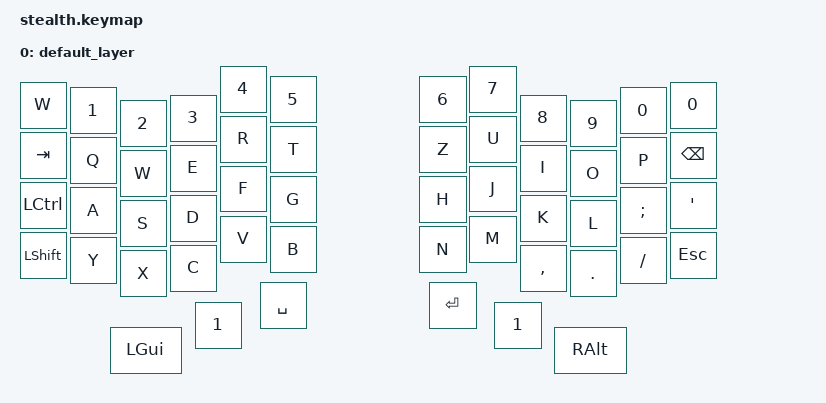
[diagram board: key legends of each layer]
/*
 * Copyright (c) 2020 The ZMK Contributors
 *
 * SPDX-License-Identifier: MIT
 */

#include <behaviors.dtsi>
#include <dt-bindings/zmk/keys.h>
#include <dt-bindings/zmk/bt.h>

/ {
        keymap {
                compatible = "zmk,keymap";

                default_layer {
// -----------------------------------------------------------------------------------------
// |  TAB |  Q  |  W  |  E  |  R  |  T  |   |  Y  |  U   |  I  |  O  |  P  | BSPC |
// | CTRL |  A  |  S  |  D  |  F  |  G  |   |  H  |  J   |  K  |  L  |  ;  |  '   |
// | SHFT |  Z  |  X  |  C  |  V  |  B  |   |  N  |  M   |  ,  |  .  |  /  | ESC  |
//                    | GUI | LWR | SPC |   | ENT | RSE  | ALT |
                        bindings = <
   &kp W     &kp 1 &kp 2 &kp 3 &kp 4 &kp 5   &kp 6 &kp 7  &kp 8     &kp 9   &kp 0    &kp 0 
   &kp TAB   &kp Q &kp W &kp E &kp R &kp T   &kp Z &kp U  &kp I     &kp O   &kp P    &kp BSPC
   &kp LCTRL &kp A &kp S &kp D &kp F &kp G   &kp H &kp J  &kp K     &kp L   &kp SEMI &kp SQT
   &kp LSHFT &kp Y &kp X &kp C &kp V &kp B   &kp N &kp M  &kp COMMA &kp DOT &kp FSLH &kp ESC
                  &kp LGUI &kp 1 &kp SPACE   &kp RET &kp 1 &kp RALT
                        >;
                };
        };
};
